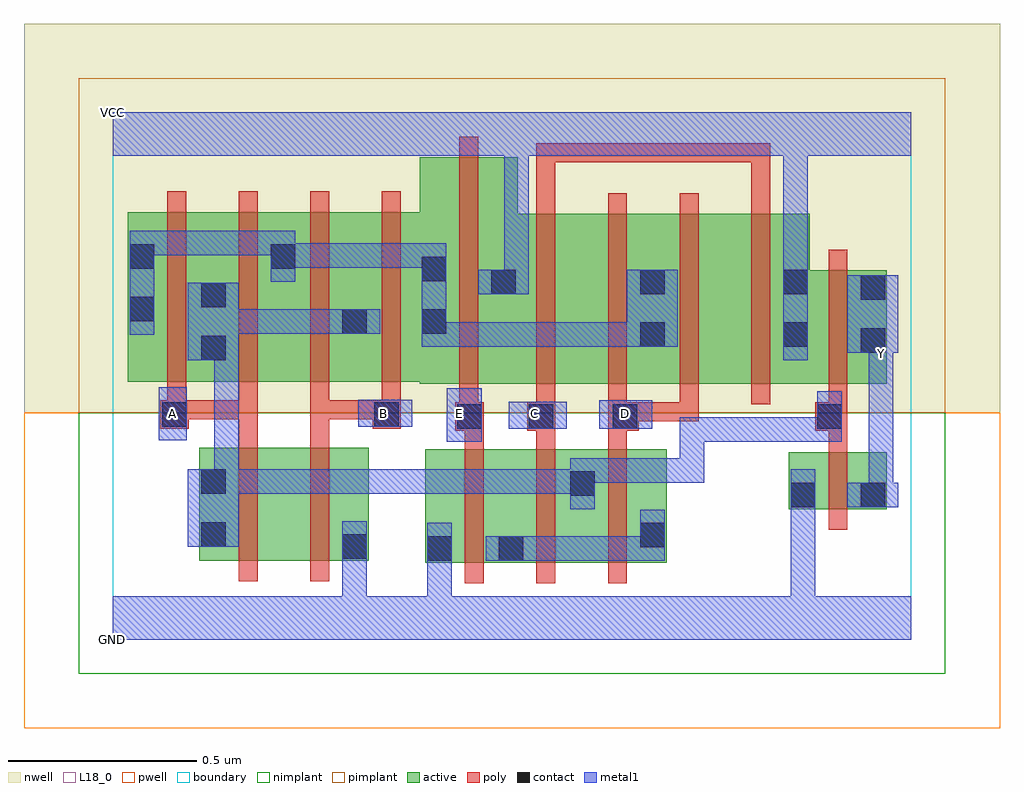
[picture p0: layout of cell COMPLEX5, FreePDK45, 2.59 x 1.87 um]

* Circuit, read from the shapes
.subckt COMPLEX5 A B C D E GND VCC Y
M1 n1 A n2 VSUBS nfet w=0.3u l=0.05u
M2 GND B n1 VSUBS nfet w=0.3u l=0.05u
M3 n3 E GND VSUBS nfet w=0.3u l=0.05u
M4 n2 C n3 VSUBS nfet w=0.3u l=0.05u
M5 n3 D n2 VSUBS nfet w=0.3u l=0.05u
M6 Y n2 GND VSUBS nfet w=0.15u l=0.05u
M7 n2 A n4 n5 pfet w=0.45u l=0.05u m=2
M8 n2 B n4 n5 pfet w=0.45u l=0.05u m=2
M9 VCC E n4 n5 pfet w=0.6u l=0.05u
M10 n6 C VCC n5 pfet w=0.45u l=0.05u
M11 n4 D n6 n5 pfet w=0.45u l=0.05u
M12 n7 D n4 n5 pfet w=0.45u l=0.05u
M13 VCC C n7 n5 pfet w=0.45u l=0.05u
M14 Y n2 VCC n5 pfet w=0.3u l=0.05u
.ends

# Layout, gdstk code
import gdstk
lib = gdstk.Library(unit=1e-6, precision=1e-09)
def R(c, l, rs):  # rectangles x0, y0, x1, y1
    for r in rs: c.add(gdstk.rectangle(r[:2], r[2:], *l))
def A(c, l, x, y, w, h, nx, ny, dx, dy):  # array of equal rectangles
    R(c, l, [(x+i*dx, y+j*dy, x+i*dx+w, y+j*dy+h) for i in range(nx) for j in range(ny)])
active = (1, 0)
pwell = (2, 0)
nwell = (3, 0)
nimplant = (4, 0)
pimplant = (5, 0)
poly = (9, 0)
contact = (10, 0)
metal1 = (11, 0)
L18_0 = (18, 0)
boundary = (235, 0)

complex5 = lib.new_cell('COMPLEX5')
R(complex5, active, [(0.83,0.205,0.905,0.505), (0.83,0.205,1.095,0.505), (1.02,0.205,1.285,0.505), (1.02,0.205,1.095,0.392), (1.21,0.205,1.47,0.505), (1.395,0.205,1.47,0.505), (0.23,0.21,0.455,0.51), (0.455,0.21,0.68,0.51), (0.605,0.21,0.68,0.51), (0.23,0.242,0.305,0.51), (1.21,0.247,1.285,0.452), (1.795,0.347,1.87,0.497), (1.795,0.347,2.055,0.497), (1.98,0.347,2.055,0.497), (0.815,0.68,1.075,1.28), (1,0.68,1.245,1.13), (1.245,0.68,1.47,1.13), (1.395,0.68,1.625,1.13), (1.625,0.68,1.85,1.13), (1.775,0.68,2.055,0.98), (1.775,0.68,1.85,0.987), (1.98,0.68,2.055,0.98), (0.04,0.685,0.305,1.135), (0.04,0.685,0.115,1.107), (0.23,0.685,0.305,1.07), (0.23,0.685,0.49,1.135), (0.415,0.685,0.68,1.135), (0.605,0.685,0.89,1.135), (0.605,0.685,0.68,1.07), (0.815,0.685,0.89,1.2), (1.395,0.732,1.47,1.107), (1,0.742,1.075,1.107), (0.415,0.857,0.49,1.107)])
R(complex5, pwell, [(-0.235,-0.235,2.355,0.602)])
R(complex5, nwell, [(-0.235,0.602,2.355,1.635)])
R(complex5, nimplant, [(-0.09,-0.09,2.21,0.602)])
R(complex5, pimplant, [(-0.09,0.602,2.21,1.49)])
A(complex5, poly, 0.935, 0.15, 0.05, 0.41, 3, 1, 0.19, 0)
A(complex5, poly, 0.935, 0.51, 0.05, 0.095, 3, 1, 0.19, 0)
A(complex5, poly, 1.125, 0.58, 0.05, 0.095, 3, 1, 0.19, 0)
A(complex5, poly, 0.145, 0.585, 0.05, 0.095, 4, 1, 0.19, 0)
A(complex5, poly, 1.125, 0.625, 0.05, 0.56, 4, 1, 0.19, 0)
A(complex5, poly, 0.145, 0.63, 0.05, 0.56, 4, 1, 0.19, 0)
R(complex5, poly, [(0.335,0.155,0.385,0.565), (0.525,0.155,0.575,0.565), (1.9,0.292,1.95,0.552), (1.9,0.502,1.95,0.605), (0.335,0.515,0.385,0.635), (0.525,0.515,0.575,0.635), (0.91,0.555,0.985,0.63), (1.1,0.555,1.175,0.63), (1.315,0.555,1.397,0.63), (1.865,0.555,1.95,0.63), (0.127,0.56,0.202,0.635), (0.69,0.56,0.765,0.635), (0.92,0.58,0.97,0.675), (1.347,0.58,1.555,0.63), (1.505,0.58,1.555,0.63), (1.505,0.58,1.555,0.63), (1.505,0.58,1.555,0.63), (1.9,0.58,1.95,0.675), (0.152,0.585,0.202,0.635), (0.152,0.585,0.202,0.635), (0.152,0.585,0.385,0.635), (0.335,0.585,0.385,0.635), (0.525,0.585,0.575,0.635), (0.525,0.585,0.74,0.635), (0.69,0.585,0.74,0.635), (0.69,0.585,0.74,0.635), (0.92,0.625,0.97,1.335), (1.9,0.625,1.95,1.035), (1.125,1.135,1.175,1.317), (1.695,1.135,1.745,1.317), (1.125,1.267,1.175,1.317), (1.125,1.267,1.307,1.317), (1.257,1.267,1.307,1.317), (1.257,1.267,1.307,1.317), (1.257,1.267,1.307,1.317), (1.257,1.267,1.53,1.317), (1.48,1.267,1.53,1.317), (1.48,1.267,1.53,1.317), (1.48,1.267,1.53,1.317), (1.48,1.267,1.745,1.317), (1.695,1.267,1.745,1.317), (1.695,1.267,1.745,1.317), (1.695,1.267,1.745,1.317)])
R(complex5, contact, [(0.835,0.21,0.9,0.275), (1.025,0.21,1.09,0.275), (0.61,0.215,0.675,0.28), (1.4,0.245,1.465,0.31), (0.235,0.247,0.3,0.312), (1.8,0.352,1.865,0.417), (1.985,0.352,2.05,0.417), (1.215,0.382,1.28,0.447), (0.235,0.387,0.3,0.452), (0.915,0.56,0.98,0.625), (1.105,0.56,1.17,0.625), (1.327,0.56,1.392,0.625), (1.87,0.56,1.935,0.625), (0.132,0.565,0.197,0.63), (0.695,0.565,0.76,0.63), (0.235,0.742,0.3,0.807), (1.985,0.762,2.05,0.827), (1.4,0.777,1.465,0.842), (1.78,0.777,1.845,0.842), (0.61,0.812,0.675,0.877), (0.82,0.812,0.885,0.877), (0.045,0.845,0.11,0.91), (0.235,0.882,0.3,0.947), (1.985,0.902,2.05,0.967), (1.005,0.917,1.07,0.982), (1.4,0.917,1.465,0.982), (1.78,0.917,1.845,0.982), (0.82,0.952,0.885,1.017), (0.045,0.985,0.11,1.05), (0.42,0.985,0.485,1.05)])
R(complex5, metal1, [(0,0,2.12,0.115), (0.61,0.05,0.675,0.245), (0.835,0.05,0.9,0.115), (0.835,0.05,0.9,0.115), (0.835,0.05,0.9,0.24), (1.8,0.05,1.865,0.382), (0.835,0.175,0.9,0.31), (0.61,0.18,0.675,0.245), (0.61,0.18,0.675,0.245), (0.61,0.18,0.675,0.315), (0.99,0.21,1.125,0.275), (1.06,0.21,1.125,0.275), (1.06,0.21,1.125,0.275), (1.06,0.21,1.292,0.275), (1.227,0.21,1.292,0.275), (1.227,0.21,1.292,0.275), (1.227,0.21,1.292,0.275), (1.227,0.21,1.465,0.275), (1.4,0.21,1.465,0.345), (0.2,0.247,0.335,0.452), (1.8,0.317,1.865,0.382), (1.8,0.317,1.865,0.382), (1.8,0.317,1.865,0.382), (1.8,0.317,1.865,0.382), (1.8,0.317,1.865,0.452), (1.215,0.347,1.28,0.482), (1.95,0.352,2.085,0.417), (2.007,0.352,2.072,0.757), (0.27,0.387,0.335,0.452), (0.27,0.387,0.335,0.452), (0.27,0.387,0.502,0.452), (0.27,0.387,0.335,0.807), (0.437,0.387,0.502,0.452), (0.437,0.387,0.502,0.452), (0.437,0.387,0.502,0.452), (0.437,0.387,0.677,0.452), (0.612,0.387,0.677,0.452), (0.612,0.387,0.815,0.452), (0.75,0.387,0.815,0.452), (0.75,0.387,0.815,0.452), (0.75,0.387,0.815,0.452), (0.75,0.387,0.98,0.452), (0.915,0.387,0.98,0.452), (0.915,0.387,1.142,0.452), (1.077,0.387,1.142,0.452), (1.077,0.387,1.142,0.452), (1.077,0.387,1.142,0.452), (1.077,0.387,1.28,0.452), (1.215,0.417,1.28,0.482), (1.215,0.417,1.28,0.482), (1.215,0.417,1.57,0.482), (1.505,0.417,1.57,0.482), (1.505,0.417,1.57,0.59), (0.887,0.525,0.98,0.667), (1.505,0.525,1.57,0.59), (1.505,0.525,1.57,0.59), (1.505,0.525,1.57,0.59), (1.505,0.525,1.707,0.59), (1.642,0.525,1.707,0.59), (1.642,0.525,1.707,0.59), (1.642,0.525,1.707,0.59), (1.642,0.525,1.845,0.59), (1.78,0.525,1.845,0.59), (1.78,0.525,1.935,0.59), (1.87,0.525,1.935,0.66), (0.122,0.53,0.197,0.67), (1.052,0.56,1.205,0.632), (1.292,0.56,1.432,0.635), (0.652,0.565,0.795,0.637), (2.007,0.692,2.072,0.827), (0.2,0.742,0.335,0.947), (0.27,0.742,0.335,0.807), (0.27,0.742,0.335,0.807), (1.78,0.742,1.845,1.017), (1.95,0.762,2.085,0.967), (2.007,0.762,2.072,0.827), (0.82,0.777,0.885,0.842), (0.82,0.777,0.885,0.842), (0.82,0.777,0.885,1.052), (0.82,0.777,0.952,0.842), (0.887,0.777,0.952,0.842), (0.887,0.777,1.142,0.842), (1.077,0.777,1.142,0.842), (1.077,0.777,1.142,0.842), (1.077,0.777,1.142,0.842), (1.077,0.777,1.28,0.842), (1.215,0.777,1.28,0.842), (1.215,0.777,1.28,0.842), (1.215,0.777,1.28,0.842), (1.215,0.777,1.43,0.842), (1.365,0.777,1.5,0.982), (0.045,0.81,0.11,1.085), (0.27,0.812,0.335,0.877), (0.27,0.812,0.335,0.877), (0.27,0.812,0.502,0.877), (0.437,0.812,0.502,0.877), (0.437,0.812,0.502,0.877), (0.437,0.812,0.502,0.877), (0.437,0.812,0.64,0.877), (0.575,0.812,0.71,0.877), (0.97,0.917,1.105,0.982), (1.04,0.917,1.105,1.35), (0.42,0.95,0.485,1.085), (1.78,0.952,1.845,1.35), (0.42,0.987,0.485,1.052), (0.42,0.987,0.485,1.052), (0.42,0.987,0.677,1.052), (0.612,0.987,0.677,1.052), (0.612,0.987,0.677,1.052), (0.612,0.987,0.677,1.052), (0.612,0.987,0.885,1.052), (0.045,1.02,0.11,1.085), (0.045,1.02,0.11,1.085), (0.045,1.02,0.347,1.085), (0.282,1.02,0.347,1.085), (0.282,1.02,0.347,1.085), (0.282,1.02,0.347,1.085), (0.282,1.02,0.485,1.085), (0,1.285,2.12,1.4), (1.78,1.285,1.845,1.35), (1.78,1.285,1.845,1.35)])
A(complex5, L18_0, 0.687, 0.567, 0.065, 0.065, 3, 1, 0.2, 0)
R(complex5, L18_0, [(0,0,2.12,0.115), (0.61,0.05,0.675,0.245), (0.835,0.05,0.9,0.115), (0.835,0.05,0.9,0.115), (0.835,0.05,0.9,0.24), (1.8,0.05,1.865,0.382), (0.835,0.175,0.9,0.31), (0.61,0.18,0.675,0.245), (0.61,0.18,0.675,0.245), (0.61,0.18,0.675,0.315), (1.8,0.317,1.865,0.382), (1.8,0.317,1.865,0.382), (1.8,0.317,1.865,0.382), (1.8,0.317,1.865,0.382), (1.8,0.317,1.865,0.452), (1.95,0.352,2.085,0.417), (2.007,0.352,2.072,0.757), (0.887,0.525,0.98,0.667), (0.122,0.53,0.197,0.67), (1.052,0.56,1.205,0.632), (1.292,0.56,1.432,0.635), (0.652,0.565,0.795,0.637), (0.127,0.567,0.192,0.632), (1.327,0.567,1.392,0.632), (2.007,0.692,2.072,0.827), (2.007,0.727,2.072,0.792), (1.78,0.742,1.845,1.017), (1.95,0.762,2.085,0.967), (2.007,0.762,2.072,0.827), (0.97,0.917,1.105,0.982), (1.04,0.917,1.105,1.35), (1.78,0.952,1.845,1.35), (0,1.285,2.12,1.4), (1.78,1.285,1.845,1.35), (1.78,1.285,1.845,1.35)])
R(complex5, boundary, [(0,0,2.12,1.4)])
complex5.add(gdstk.Label('A', (0.16,0.6), layer=11, texttype=0))
complex5.add(gdstk.Label('B', (0.72,0.6), layer=11, texttype=0))
complex5.add(gdstk.Label('C', (1.12,0.6), layer=11, texttype=0))
complex5.add(gdstk.Label('D', (1.36,0.6), layer=11, texttype=0))
complex5.add(gdstk.Label('E', (0.92,0.6), layer=11, texttype=0))
complex5.add(gdstk.Label('Y', (2.04,0.76), layer=11, texttype=0))
complex5.add(gdstk.Label('VCC', (0,1.4), layer=11, texttype=0))
complex5.add(gdstk.Label('GND', (0,0), layer=11, texttype=0))

lib.write_gds('COMPLEX5.gds')
